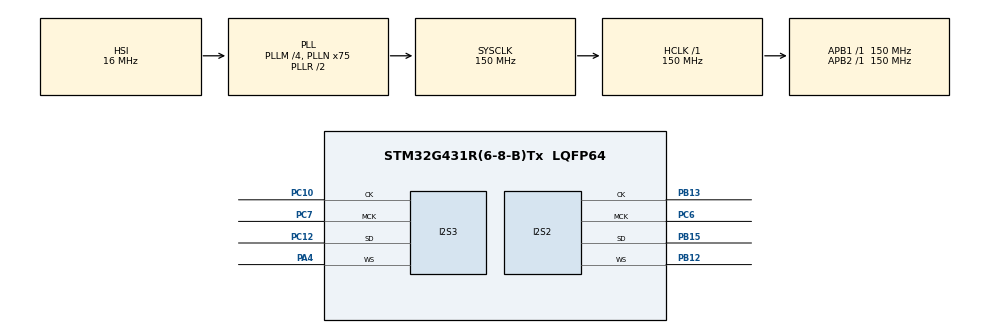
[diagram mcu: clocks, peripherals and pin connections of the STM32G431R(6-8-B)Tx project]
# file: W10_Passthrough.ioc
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Dma.Request0=SPI3_RX
Dma.Request1=SPI2_TX
Dma.SPI2_TX.1.Direction=DMA_MEMORY_TO_PERIPH
Dma.SPI2_TX.1.EventEnable=DISABLE
Dma.SPI2_TX.1.Instance=DMA1_Channel3
Dma.SPI2_TX.1.MemDataAlignment=DMA_MDATAALIGN_HALFWORD
Dma.SPI2_TX.1.MemInc=DMA_MINC_ENABLE
Dma.SPI2_TX.1.Mode=DMA_CIRCULAR
Dma.SPI2_TX.1.PeriphDataAlignment=DMA_PDATAALIGN_HALFWORD
Dma.SPI2_TX.1.PeriphInc=DMA_PINC_DISABLE
Dma.SPI2_TX.1.Polarity=HAL_DMAMUX_REQ_GEN_RISING
Dma.SPI2_TX.1.Priority=DMA_PRIORITY_LOW
Dma.SPI2_TX.1.RequestNumber=1
Dma.SPI2_TX.1.SignalID=NONE
Dma.SPI2_TX.1.SyncEnable=DISABLE
Dma.SPI2_TX.1.SyncPolarity=HAL_DMAMUX_SYNC_NO_EVENT
Dma.SPI2_TX.1.SyncRequestNumber=1
Dma.SPI2_TX.1.SyncSignalID=NONE
Dma.SPI3_RX.0.Direction=DMA_PERIPH_TO_MEMORY
Dma.SPI3_RX.0.EventEnable=DISABLE
Dma.SPI3_RX.0.Instance=DMA1_Channel4
Dma.SPI3_RX.0.MemDataAlignment=DMA_MDATAALIGN_HALFWORD
Dma.SPI3_RX.0.MemInc=DMA_MINC_ENABLE
Dma.SPI3_RX.0.Mode=DMA_CIRCULAR
Dma.SPI3_RX.0.PeriphDataAlignment=DMA_PDATAALIGN_HALFWORD
Dma.SPI3_RX.0.PeriphInc=DMA_PINC_DISABLE
Dma.SPI3_RX.0.Polarity=HAL_DMAMUX_REQ_GEN_RISING
Dma.SPI3_RX.0.Priority=DMA_PRIORITY_LOW
Dma.SPI3_RX.0.RequestNumber=1
Dma.SPI3_RX.0.SignalID=NONE
Dma.SPI3_RX.0.SyncEnable=DISABLE
Dma.SPI3_RX.0.SyncPolarity=HAL_DMAMUX_SYNC_NO_EVENT
Dma.SPI3_RX.0.SyncRequestNumber=1
Dma.SPI3_RX.0.SyncSignalID=NONE
I2S2.AudioFreq=I2S_AUDIOFREQ_48K
I2S2.DataFormat=I2S_DATAFORMAT_16B_EXTENDED
I2S2.ErrorAudioFreq=1.72 %
I2S2.FullDuplexMode=I2S_FULLDUPLEXMODE_DISABLE
I2S2.Instance=SPI$Index
I2S2.RealAudioFreq=48.828 KHz
I2S2.VirtualMode=I2S_MODE_MASTER
I2S3.AudioFreq=I2S_AUDIOFREQ_48K
I2S3.DataFormat=I2S_DATAFORMAT_16B_EXTENDED
I2S3.ErrorAudioFreq=1.72 %
I2S3.FullDuplexMode=I2S_FULLDUPLEXMODE_DISABLE
I2S3.Instance=SPI$Index
I2S3.Mode=I2S_MODE_MASTER_RX
I2S3.RealAudioFreq=48.828 KHz
I2S3.VirtualMode=I2S_MODE_MASTER
Mcu.Family=STM32G4
Mcu.Name=STM32G431R(6-8-B)Tx
Mcu.Package=LQFP64
NVIC.DMA1_Channel3_IRQn=true\:0\:0\:false\:false\:true\:false\:true\:true
NVIC.DMA1_Channel4_IRQn=true\:0\:0\:false\:false\:true\:false\:true\:true
NVIC.PriorityGroup=NVIC_PRIORITYGROUP_4
PA4.Mode=Half_Duplex_Master
PA4.Signal=I2S3_WS
PB12.Mode=Half_Duplex_Master
PB12.Signal=I2S2_WS
PB13.Mode=Half_Duplex_Master
PB13.Signal=I2S2_CK
PB15.Mode=Half_Duplex_Master
PB15.Signal=I2S2_SD
PC10.Mode=Half_Duplex_Master
PC10.Signal=I2S3_CK
PC12.Mode=Half_Duplex_Master
PC12.Signal=I2S3_SD
PC6.Mode=Master_Clock_Activated
PC6.Signal=I2S2_MCK
PC7.Mode=Master_Clock_Activated
PC7.Signal=I2S3_MCK
ProjectManager.HeapSize=0x200
ProjectManager.StackSize=0x400
ProjectManager.TargetToolchain=STM32CubeIDE
RCC.ADC12Freq_Value=150000000
RCC.AHBFreq_Value=150000000
RCC.APB1Freq_Value=150000000
RCC.APB1TimFreq_Value=150000000
RCC.APB2Freq_Value=150000000
RCC.APB2TimFreq_Value=150000000
RCC.CortexFreq_Value=150000000
RCC.EXTERNAL_CLOCK_VALUE=12288000
RCC.HCLKFreq_Value=150000000
RCC.HSE_VALUE=8000000
RCC.HSI48_VALUE=48000000
RCC.HSI_VALUE=16000000
RCC.LSE_VALUE=32768
RCC.PLLM=RCC_PLLM_DIV4
RCC.PLLN=75
RCC.SYSCLKFreq_VALUE=150000000
RCC.SYSCLKSource=RCC_SYSCLKSOURCE_PLLCLK
RCC.USBFreq_Value=150000000
RCC.VCOOutputFreq_Value=300000000
board=custom

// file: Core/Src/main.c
/* USER CODE BEGIN Header */
/**
  ******************************************************************************
  * @file           : main.c
  * @brief          : Main program body
  ******************************************************************************
  * @attention
  *
  * Copyright (c) 2023 STMicroelectronics.
  * All rights reserved.
  *
  * This software is licensed under terms that can be found in the LICENSE file
  * in the root directory of this software component.
  * If no LICENSE file comes with this software, it is provided AS-IS.
  *
  ******************************************************************************
  */
/* USER CODE END Header */
#include "main.h"

/* USER CODE BEGIN PM */
#define SAMPLE_PER_FRAME 2
#define FRAME_PER_BUFFER 32
#define BUFFER_SIZE (FRAME_PER_BUFFER*SAMPLE_PER_FRAME)
#define DOUBLE_BUFFER_I2S (2*BUFFER_SIZE)

#define GAIN 3  /* multiply the output by a factor of 2^GAIN */
#define COS_TABLE_LEN 80
static int16_t COS_TABLE[COS_TABLE_LEN] = {
    0x7FFF, 0x7F99, 0x7E6B, 0x7C75, 0x79BB, 0x7640, 0x720B, 0x6D22, 0x678D, 0x6154, 0x5A81, 0x5320,
    0x4B3B, 0x42E0, 0x3A1B, 0x30FB, 0x278D, 0x1DE1, 0x1405, 0x0A0A, 0x0000, 0xF5F6, 0xEBFB, 0xE21F,
    0xD873, 0xCF05, 0xC5E5, 0xBD20, 0xB4C5, 0xACE0, 0xA57F, 0x9EAC, 0x9873, 0x92DE, 0x8DF5, 0x89C0,
    0x8645, 0x838B, 0x8195, 0x8067, 0x8001, 0x8067, 0x8195, 0x838B, 0x8645, 0x89C0, 0x8DF5, 0x92DE,
    0x9873, 0x9EAC, 0xA57F, 0xACE0, 0xB4C5, 0xBD20, 0xC5E5, 0xCF05, 0xD873, 0xE21F, 0xEBFB, 0xF5F6,
    0x0000, 0x0A0A, 0x1405, 0x1DE1, 0x278D, 0x30FB, 0x3A1B, 0x42E0, 0x4B3B, 0x5320, 0x5A81, 0x6154,
    0x678D, 0x6D22, 0x720B, 0x7640, 0x79BB, 0x7C75, 0x7E6B, 0x7F99};
/* USER CODE END PM */

I2S_HandleTypeDef hi2s2;
I2S_HandleTypeDef hi2s3;
DMA_HandleTypeDef hdma_spi2_tx;
DMA_HandleTypeDef hdma_spi3_rx;

/* USER CODE BEGIN PV */
int16_t dataIn[DOUBLE_BUFFER_I2S];
int16_t dataOut[DOUBLE_BUFFER_I2S];
//uint16_t check;
/* USER CODE END PV */

void SystemClock_Config(void);
static void MX_GPIO_Init(void);
static void MX_DMA_Init(void);
static void MX_I2S2_Init(void);
static void MX_I2S3_Init(void);
/* USER CODE BEGIN PFP */
void process(int16_t *bufferInStereo, int16_t *bufferOutStereo, uint16_t size);
void HAL_I2S_RxHalfCpltCallback(I2S_HandleTypeDef *hi2s) {
	//check = 18;
}

void HAL_I2S_RxCpltCallback(I2S_HandleTypeDef *hi2s) {
}

void HAL_I2S_TxHalfCpltCallback(I2S_HandleTypeDef *hi2s) {
    process(dataIn, dataOut, BUFFER_SIZE);
}

void HAL_I2S_TxCpltCallback(I2S_HandleTypeDef *hi2s) {
    process(&dataIn[BUFFER_SIZE], &dataOut[BUFFER_SIZE], BUFFER_SIZE);
}
/* USER CODE END PFP */

/* USER CODE BEGIN 0 */
/*int __io_putchar(int ch)
{
	HAL_UART_Transmit(&huart2, (uint8_t*)&ch, 1, HAL_MAX_DELAY);
	return 1;
}*/

/* USER CODE END 0 */

int main(void)
{

  /* MCU Configuration--------------------------------------------------------*/

  /* Reset of all peripherals, Initializes the Flash interface and the Systick. */
  HAL_Init();

  /* Configure the system clock */
  SystemClock_Config();

  /* Initialize all configured peripherals */
  MX_GPIO_Init();
  MX_DMA_Init();
  MX_I2S2_Init();
  MX_I2S3_Init();
  /* USER CODE BEGIN 2 */
  HAL_I2S_Transmit_DMA(&hi2s2, (uint16_t *) dataOut, DOUBLE_BUFFER_I2S);
  HAL_I2S_Receive_DMA(&hi2s3, (uint16_t *) dataIn, DOUBLE_BUFFER_I2S);

  /* USER CODE END 2 */

  /* Infinite loop */
  while (1)
  {

  }
}

void SystemClock_Config(void)
{
  RCC_OscInitTypeDef RCC_OscInitStruct = {0};
  RCC_ClkInitTypeDef RCC_ClkInitStruct = {0};

  /** Configure the main internal regulator output voltage
  */
  HAL_PWREx_ControlVoltageScaling(PWR_REGULATOR_VOLTAGE_SCALE1);

  /** Initializes the RCC Oscillators according to the specified parameters
  * in the RCC_OscInitTypeDef structure.
  */
  RCC_OscInitStruct.OscillatorType = RCC_OSCILLATORTYPE_HSI;
  RCC_OscInitStruct.HSIState = RCC_HSI_ON;
  RCC_OscInitStruct.HSICalibrationValue = RCC_HSICALIBRATION_DEFAULT;
  RCC_OscInitStruct.PLL.PLLState = RCC_PLL_ON;
  RCC_OscInitStruct.PLL.PLLSource = RCC_PLLSOURCE_HSI;
  RCC_OscInitStruct.PLL.PLLM = RCC_PLLM_DIV4;
  RCC_OscInitStruct.PLL.PLLN = 75;
  RCC_OscInitStruct.PLL.PLLP = RCC_PLLP_DIV2;
  RCC_OscInitStruct.PLL.PLLQ = RCC_PLLQ_DIV2;
  RCC_OscInitStruct.PLL.PLLR = RCC_PLLR_DIV2;
  if (HAL_RCC_OscConfig(&RCC_OscInitStruct) != HAL_OK)
  {
    Error_Handler();
  }

  /** Initializes the CPU, AHB and APB buses clocks
  */
  RCC_ClkInitStruct.ClockType = RCC_CLOCKTYPE_HCLK|RCC_CLOCKTYPE_SYSCLK
                              |RCC_CLOCKTYPE_PCLK1|RCC_CLOCKTYPE_PCLK2;
  RCC_ClkInitStruct.SYSCLKSource = RCC_SYSCLKSOURCE_PLLCLK;
  RCC_ClkInitStruct.AHBCLKDivider = RCC_SYSCLK_DIV1;
  RCC_ClkInitStruct.APB1CLKDivider = RCC_HCLK_DIV1;
  RCC_ClkInitStruct.APB2CLKDivider = RCC_HCLK_DIV1;

  if (HAL_RCC_ClockConfig(&RCC_ClkInitStruct, FLASH_LATENCY_4) != HAL_OK)
  {
    Error_Handler();
  }
}

static void MX_I2S2_Init(void)
{

  hi2s2.Instance = SPI2;
  hi2s2.Init.Mode = I2S_MODE_MASTER_TX;
  hi2s2.Init.Standard = I2S_STANDARD_PHILIPS;
  hi2s2.Init.DataFormat = I2S_DATAFORMAT_16B_EXTENDED;
  hi2s2.Init.MCLKOutput = I2S_MCLKOUTPUT_ENABLE;
  hi2s2.Init.AudioFreq = I2S_AUDIOFREQ_48K;
  hi2s2.Init.CPOL = I2S_CPOL_LOW;
  if (HAL_I2S_Init(&hi2s2) != HAL_OK)
  {
    Error_Handler();
  }

}

static void MX_I2S3_Init(void)
{

  hi2s3.Instance = SPI3;
  hi2s3.Init.Mode = I2S_MODE_MASTER_RX;
  hi2s3.Init.Standard = I2S_STANDARD_PHILIPS;
  hi2s3.Init.DataFormat = I2S_DATAFORMAT_16B_EXTENDED;
  hi2s3.Init.MCLKOutput = I2S_MCLKOUTPUT_ENABLE;
  hi2s3.Init.AudioFreq = I2S_AUDIOFREQ_48K;
  hi2s3.Init.CPOL = I2S_CPOL_LOW;
  if (HAL_I2S_Init(&hi2s3) != HAL_OK)
  {
    Error_Handler();
  }

}

static void MX_DMA_Init(void)
{

  /* DMA controller clock enable */
  __HAL_RCC_DMAMUX1_CLK_ENABLE();
  __HAL_RCC_DMA1_CLK_ENABLE();

  /* DMA interrupt init */
  /* DMA1_Channel3_IRQn interrupt configuration */
  HAL_NVIC_SetPriority(DMA1_Channel3_IRQn, 0, 0);
  HAL_NVIC_EnableIRQ(DMA1_Channel3_IRQn);
  /* DMA1_Channel4_IRQn interrupt configuration */
  HAL_NVIC_SetPriority(DMA1_Channel4_IRQn, 0, 0);
  HAL_NVIC_EnableIRQ(DMA1_Channel4_IRQn);

}

static void MX_GPIO_Init(void)
{

  /* GPIO Ports Clock Enable */
  __HAL_RCC_GPIOA_CLK_ENABLE();
  __HAL_RCC_GPIOB_CLK_ENABLE();
  __HAL_RCC_GPIOC_CLK_ENABLE();

}

/* USER CODE BEGIN 4 */
void inline process(int16_t *pIn, int16_t *pOut, uint16_t size) {

	  static int16_t x_prev_l = 0;
	  static int16_t x_prev_r = 0;
	  static uint8_t ix = 0;

	  for (uint16_t i = 0; i < size/2; i++) {
	    // simple DC notch
	    int32_t y_l = (int32_t)(*pIn - x_prev_l);
	    x_prev_l = *pIn;
	    pIn++;
	    int32_t y_r = (int32_t)(*pIn - x_prev_r);
	    x_prev_r = *pIn;

	    // modulation
	    y_l = y_l*COS_TABLE[ix];
	    y_r = y_r*COS_TABLE[ix++];
	    ix++;
	    ix %= COS_TABLE_LEN;

	    // rescaling to 16 bits
	    y_l >>= (15 - GAIN);
	    y_r >>= (15 - GAIN);

	    // duplicate output to LEFT and RIGHT channels
	    *pOut++ = (int16_t)y_l;
	    *pOut++ = (int16_t)y_r;
	    pIn += 1;
	  }

    //for (uint16_t i = 0; i < size/2; i++) {
        // Here copy input buffer to output buffer
    	//printf("buffer in stereo: %d \r\n", bufferInStereo[i]);
    	//bufferOutStereo[2*i]=bufferInStereo[2*i];
    	//bufferOutStereo[2*i+1]=bufferInStereo[2*i+1]>>2;
    	//printf("buffer in stereo: %d \r\n", bufferOutStereo[i]);
}
/* USER CODE END 4 */

void Error_Handler(void)
{
  __disable_irq();
  while (1)
  {
  }
}
